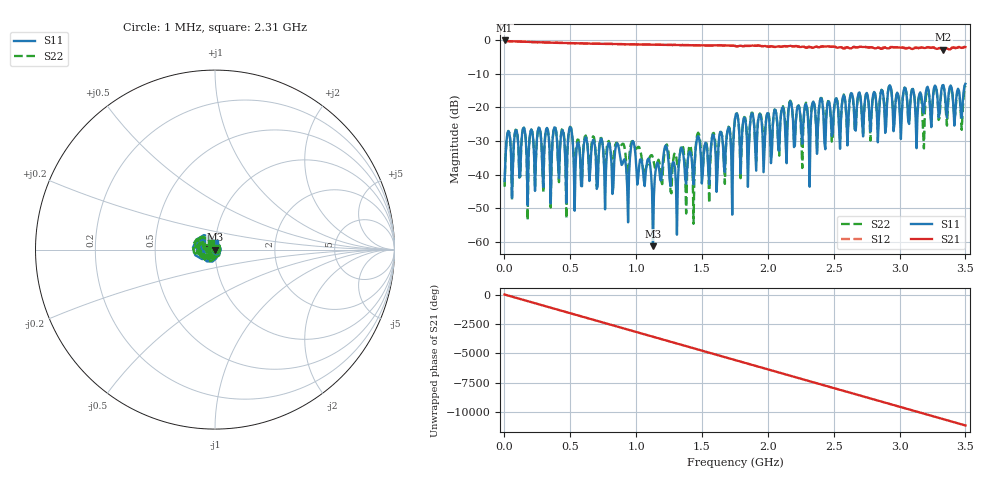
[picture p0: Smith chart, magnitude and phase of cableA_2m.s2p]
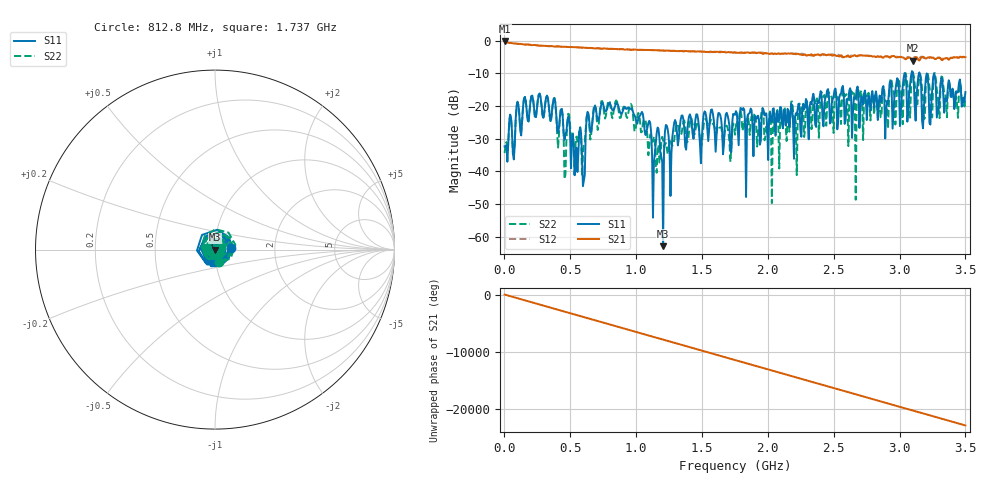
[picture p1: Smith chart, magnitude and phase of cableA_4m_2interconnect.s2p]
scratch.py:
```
#%%
import serdespy as sdp
import numpy as np
import matplotlib.pyplot as plt
import skrf as rf
import scipy as sp

#%%
import numpy as np
import matplotlib.pyplot as plt

def channel_gmsl2(f):
    if f >= 2e6 and f < 10e6:
        return -6 - 0.9 * np.sqrt(f * 1e-6)
    elif f >= 10e6 and f < 200e6:
        return -(14.2 + 0.28 * np.sqrt(f * 1e-6) + 0.8 * (f * 1e-9))
    elif f >= 200e6 and f < 400e6:
        return -18.3 + 0.02 * ((f * 1e-6) - 200)
    elif f >= 400e6 and f < 1.5e9:
        return 5.7e-3 * (f * 1e-6) - 16.6
    elif f >= 1.5e9 and f < 3.5e9:
        return -8
    
def channel_gmsl3_short(f):
    if f >= 2e6 and f < 10e6:
        return -9 - 0.9 * (f * 1e-6)
    elif f >= 10e6 and f < 800e6:
        return -18
    elif f >= 800e6 and f < 3e9:
        return -16.9 + 8 * (f * 1e-9 - 1) / 1.5
    elif f >= 3e9 and f < 3.5e9:
        return -6.2
    
def channel_gmsl3_long(f):
    if f >= 2e6 and f < 10e6:
        return -9 - 0.9 * (f * 1e-6)
    elif f >= 10e6 and f < 1e9:
        return -18
    elif f >= 1e9 and f < 2.5e9:
        return -23.33 + 5.33 * (f * 1e-9)
    elif f >= 2.5e9 and f < 3.5e9:
        return -10


def plot_return_loss():
    f = np.arange(2e6, 3.5e9, 1e4)
    rl_gmsl2 = np.vectorize(channel_gmsl2)(f)
    rl_gmsl3_short = np.vectorize(channel_gmsl3_short)(f)
    rl_gmsl3_long = np.vectorize(channel_gmsl3_long)(f)

    plt.plot(f, rl_gmsl2, 'r-')
    plt.plot(f, rl_gmsl3_short, 'k-')
    plt.plot(f, rl_gmsl3_long, 'g-')


def func(x, a, b, c):
    return (a + b * np.sqrt(x * 1e-6) + c * (x * 1e-9))

def plot_insertion_loss():
    f = np.linspace(2e6, 3.5e9, 1000, endpoint=True)

    il_gmsl2 = -func(f, 2.74, 0.25, 1.56)
    il_gmsl3_short = -func(f, 1.45, 0.101, 1.01)
    il_gmsl3_long = -func(f, 1.62, 0.182, 2.14)

    plt.plot(f, il_gmsl2, 'r-')
    plt.plot(f, il_gmsl3_short, 'k-')
    plt.plot(f, il_gmsl3_long, 'g-')





#%%

#load in touchstone file containing s-params of 2m copper cable connector
cable_2m= './sparams/cableA_2m.s2p'
cable_4m= './sparams/cableA_4m_2interconnect.s2p'
cable_6m= './sparams/cableA_6m_4interconnect.s2p'
cable_8m= './sparams/cableA_8m_6interconnect.s2p'
cable_10m= './sparams/cableA_10m_8interconnect.s2p'
cable_2m_20C = './sparams/cableA_2m_-20C.s2p'
cable_2m_85C = './sparams/cableA_2m_85C.s2p'
cable_2m_B = './sparams/cableB_2m.s2p'

#%% temperature comparison
nwA = rf.Network(cable_2m)
nwB = rf.Network(cable_2m_20C)
nwC = rf.Network(cable_2m_85C)

nwA.plot_s_db(m=0, n=1)
nwB.plot_s_db(m=0, n=1)
nwC.plot_s_db(m=0, n=1)
plot_insertion_loss()
# plt.xlim([0, 3.5e9])
# plt.ylim([-25, 0])
# plt.grid()

plt.xlim([2.5e9, 3.5e9])
plt.ylim([-5, 0])
plt.grid()

# nwA.plot_s_db(m=0, n=0)
# nwB.plot_s_db(m=0, n=0)
# nwC.plot_s_db(m=0, n=0)
# plot_return_loss()
# plt.xlim([0, 3.5e9])
# plt.ylim([-50, 0])
# plt.grid()
# plt.title("Comparison plot of cables at -20C, 25C, and 85C")

# %% cable length comparison

nwA = rf.Network(cable_2m)
nwB = rf.Network(cable_4m)
nwC = rf.Network(cable_6m)
nwD = rf.Network(cable_8m)
nwE = rf.Network(cable_10m)

nwA.plot_s_db(m=0, n=1)
nwB.plot_s_db(m=0, n=1)
nwC.plot_s_db(m=0, n=1)
nwD.plot_s_db(m=0, n=1)
nwE.plot_s_db(m=0, n=1)

# nwA.plot_s_db(m=0, n=1, logx='True')
# nwB.plot_s_db(m=0, n=1, logx='True')
# nwC.plot_s_db(m=0, n=1, logx='True')
# nwD.plot_s_db(m=0, n=1, logx='True')
# nwE.plot_s_db(m=0, n=1, logx='True')

# plot_insertion_loss()
plt.xlim([0, 3.5e9])
plt.ylim([-25, 0])
plt.grid()

# nwA.plot_s_db(m=0, n=0)
# nwB.plot_s_db(m=0, n=0)
# nwC.plot_s_db(m=0, n=0)
# nwD.plot_s_db(m=0, n=0)
# nwE.plot_s_db(m=0, n=0)
# plot_return_loss()
# plt.xlim([0, 3.5e9])
# plt.ylim([-50, 0])
# plt.grid()

plt.title("Comparison plot of various cable lengths")

# %%
nwA = rf.Network(cable_2m)
nwB = rf.Network(cable_2m_B)

# nwA.plot_s_db(m=0, n=1)
# nwB.plot_s_db(m=0, n=1)
# plot_insertion_loss()
# plt.xlim([0, 3.5e9])
# plt.ylim([-25, 0])
# plt.grid()

nwA.plot_s_db(m=0, n=0)
nwB.plot_s_db(m=0, n=0)
plot_return_loss()
plt.xlim([0, 3.5e9])
plt.ylim([-50, 0])
plt.grid()


plt.title("Comparison plot of different cable manufacturers")
# %%
```
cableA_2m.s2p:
# GHZ S RI R 50.000000000000
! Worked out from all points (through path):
!   501 points, 1 MHz to 3.5 GHz, reference 50 ohm
!   highest |S21| = -0.05 dB at 1 MHz (marker M1); lowest = -2.8 dB at 3.332 GHz (marker M2)
!   group delay of S21, straight-line fit = 8.81 ns
!   lowest |S11| = -61.3 dB at 1.128 GHz (marker M3), VSWR 1.00, Z = 50 - j0.0795 ohm
!   |S11| at or under -10 dB: start of sweep to end of sweep
!   |S22| runs from -54.6 to -13.4 dB; largest |S21 - S12| = 0.029
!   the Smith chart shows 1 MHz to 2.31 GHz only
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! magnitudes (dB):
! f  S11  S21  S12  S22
! 1 MHz  -41.9  0.0  -0.1  -43.6
! 28.99 MHz  -27.0  -0.2  -0.3  -27.0
! 497.9 MHz  -25.8  -0.9  -0.9  -25.8
! 931.7 MHz  -43.6  -1.2  -1.2  -41.9
! 973.7 MHz  -30.0  -1.2  -1.2  -30.1
! 1.128 GHz  -61.3  -1.3  -1.3  -35.0
! 1.226 GHz  -31.3  -1.4  -1.4  -31.3
! 1.31 GHz  -57.9  -1.4  -1.4  -36.2
! 1.75 GHz  -23.4  -1.7  -1.7  -23.4
! 3.332 GHz  -13.3  -2.8  -2.6  -13.5
! 3.5 GHz  -13.0  -2.0  -2.1  -13.5
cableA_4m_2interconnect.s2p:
# GHZ S RI R 50.000000000000
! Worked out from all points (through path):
!   501 points, 1 MHz to 3.5 GHz, reference 50 ohm
!   highest |S21| = -0.16 dB at 1 MHz (marker M1); lowest = -6.2 dB at 3.101 GHz (marker M2)
!   lowest |S11| = -62.9 dB at 1.205 GHz (marker M3), VSWR 1.00, Z = 49.9 + j0.000719 ohm
!   |S11| at or under -10 dB: start of sweep to 3.038 GHz; 3.038 GHz to 3.091 GHz (52.55 MHz wide, 1.71 % of centre); 3.152 GHz to end of sweep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
!   |S22| runs from -49.7 to -9.7 dB; largest |S21 - S12| = 0.065
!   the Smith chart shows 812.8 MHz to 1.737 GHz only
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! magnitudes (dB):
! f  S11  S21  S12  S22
! 1 MHz  -32.4  -0.2  0.0  -34.4
! 266.9 MHz  -16.2  -1.6  -1.6  -16.3
! 602.8 MHz  -42.8  -2.2  -2.2  -31.2
! 630.8 MHz  -21.8  -2.3  -2.3  -22.0
! 854.8 MHz  -19.1  -2.6  -2.6  -18.7
! 1.163 GHz  -26.6  -3.0  -3.0  -32.4
! 1.205 GHz  -62.9  -3.1  -3.1  -30.7
! 1.233 GHz  -26.0  -3.1  -3.1  -33.2
! 1.75 GHz  -22.7  -3.6  -3.8  -28.8
! 3.101 GHz  -9.8  -6.2  -5.7  -9.7
! 3.5 GHz  -15.8  -5.1  -5.1  -17.9
